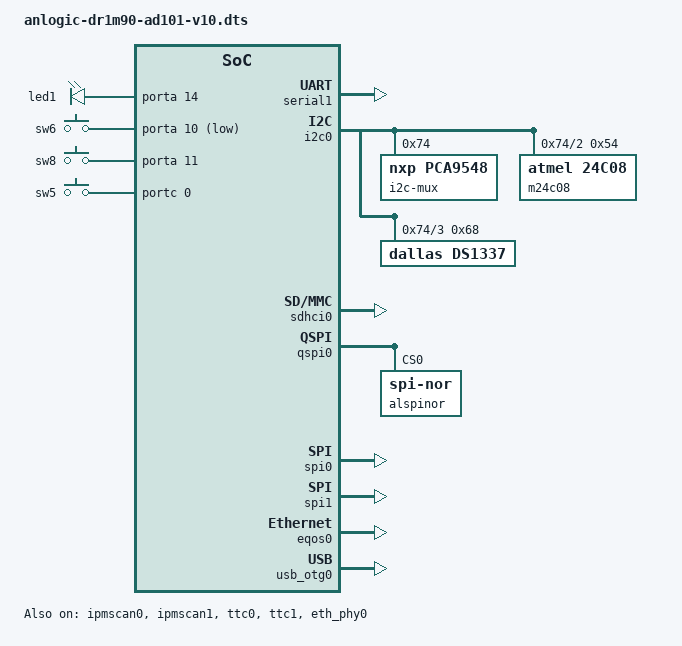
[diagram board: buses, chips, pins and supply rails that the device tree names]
// SPDX-License-Identifier: (GPL-2.0+ OR MIT)

/dts-v1/;
#include "anlogic-dr1m90.dts"

&cma {
	alloc-ranges = <0x0 0x00000000 0x0 0xffffffff>;
	size = <0x0 0x10000000>;
};

&memory {
	reg = <0 0x00000000 0 0x40000000>;
};

&soc {
	soft_npu: soft_npu@1F0000000 {
		compatible = "anlogic,soft_npu";
		reg = <0x1 0xF0000000 0x0 0x00100000>;
		interrupts = <GIC_SPI 97 IRQ_TYPE_LEVEL_HIGH>;
	};

	serialpl0: serial@A0000000 {
		compatible = "anlogic,xps-uartlite-1.00.a";
		reg = <0x0 0xA0000000 0x0 0x1000>;
		clock-frequency = <50000000>;
		interrupts = <GIC_SPI 82 IRQ_TYPE_LEVEL_HIGH>;
		port-number = <0>;
		anlogic,baudrate = <115200>;
		current-speed = <115200>;
		anlogic,use-parity = <0x0>;
		anlogic,odd-parity = <0x0>;
		anlogic,data-bits = <0x8>;
		status = "disabled";
	};

	leds {
		compatible = "gpio-leds";
		led1: led1 {
			gpios = <&porta 14 GPIO_ACTIVE_HIGH>;
			linux,default-trigger = "heartbeat";
			status = "okay";
		};
		led2: led2 {
			gpios = <&porta 13 GPIO_ACTIVE_HIGH>;
			linux,default-trigger = "heartbeat";
			status = "disabled";
		};
		led3: led3 {
			gpios = <&porta 12 GPIO_ACTIVE_HIGH>;
			linux,default-trigger = "heartbeat";
			status = "disabled";
		};
	};

	keys {
		compatible = "gpio-keys";
		sw6: sw6 {
			gpios = <&porta 10 GPIO_ACTIVE_LOW>;
			linux,code = <103>;
			status = "okay";
		};
		sw8: sw8 {
			gpios = <&porta 11 GPIO_ACTIVE_HIGH>;
			linux,code = <108>;
			status = "okay";
		};
		sw5: sw5 {
			gpios = <&portc 0 GPIO_ACTIVE_HIGH>;
			linux,code = <108>;
			status = "okay";
		};
	};
};

&serial0 {
	status = "disabled";
};

&serial1 {
	status = "okay";
};

&i2c0 {
	status = "okay";

	i2c-mux@74 {
		compatible = "nxp,pca9548";
		#address-cells = <1>;
		#size-cells = <0>;
		reg = <0x74>;
		status = "okay";

		i2c@2 {
			#address-cells = <1>;
			#size-cells = <0>;
			reg = <2>;
			/*
			 * IIC_EEPROM 1kB memory which uses 256B blocks
			 * where every block has different address.
			 *    0 - 256B address 0x54
			 * 256B - 512B address 0x55
			 * 512B - 768B address 0x56
			 * 768B - 1024B address 0x57
			 */
			m24c08: eeprom@54 {
				compatible = "atmel,24c08";
				reg = <0x54>;
				pagesize = <16>;
				address-width = <8>;
				status = "okay";
			};
		};

		i2c@3 {
			#address-cells = <1>;
			#size-cells = <0>;
			reg = <3>;
			ds1337: rtc@68 {
				compatible = "dallas,ds1337";
				reg = <0x68>;
				trickle-resistor-ohms = <250>;
				status = "okay";
			};
		};

	};
};

&i2c1 {
	status = "disabled";
};

&gpio0 {
	status = "okay";
};

&gpio1 {
	status = "okay";
};

&gpio2 {
	status = "okay";
};

&gpio3 {
	status = "okay";
};

&axidmac {
	status = "okay";
};

&watchdog0 {
	status = "disabled";
};

&ipmscan0 {
	status = "okay";
};

&ipmscan1 {
	status = "okay";
};

&sdhci0 {
	status = "okay";
};

&sdhci1 {
	status = "disabled";
};

&ahb_dma {
	status = "okay";
};

&qspi0 {
	status = "okay";

	//spidev@0 {
	//	compatible = "rohm,dh2228fv";
	//	reg = <0>;
	//	spi-max-frequency = <8000000>;
	//};

	flash0: flash@0 {
		compatible = "jedec,spi-nor";
		label = "alspinor";
		reg = <0x0>;
		spi-tx-bus-width = <4>;
		spi-rx-bus-width = <4>;
		spi-max-frequency = <AL_QSPI_MAX_FREQUENCY>;
	};

	//num-cs = <2>;
	//cs-gpios = <&gpio0 13 0>,
	//<&gpio0 14 0>;v
};

&spi0 {
	status = "okay";
};

&spi1 {
	status = "okay";
};

&ttc0 {
	status = "okay";
};

&ttc1 {
	status = "okay";
};

&eqos0 {
	status = "okay";
};

&eth_phy0 {
	/* Realtek RTL8211F (0x001cc916) */
	status = "okay";
};

&eth_phy1 {
	/* Motorcomm YT8531 (0x4f51e91b) */
	status = "disabled";
};

&eqos1 {
	status = "disabled";
};

&eth_phy2 {
	/* Realtek RTL8211F (0x001cc916) */
	status = "disabled";
};

&eth_phy3 {
	/* Motorcomm YT8531 (0x4f51e91b) */
	status = "disabled";
};

&usb_otg0 {
	status = "okay";
};

&adc {
	status = "disabled";
};
